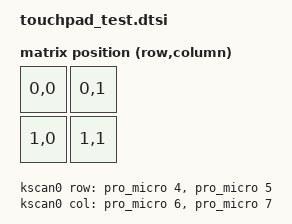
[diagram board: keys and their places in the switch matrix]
#include <dt-bindings/zmk/matrix_transform.h>

/ {
    chosen {
        zmk,kscan = &kscan0;
        zmk,matrix-transform = &default_transform;
    };

    default_transform: keymap_transform_0 {
        compatible = "zmk,matrix-transform";
        columns = <2>;
        rows = <2>;
        map = <
            RC(0,0) RC(0,1)
            RC(1,0) RC(1,1)
        >;
    };

    kscan0: kscan {
        compatible = "zmk,kscan-gpio-matrix";
        wakeup-source;
        diode-direction = "col2row";

        row-gpios =
            <&pro_micro 4 (GPIO_ACTIVE_HIGH | GPIO_PULL_DOWN)>,
            <&pro_micro 5 (GPIO_ACTIVE_HIGH | GPIO_PULL_DOWN)>;

        col-gpios =
            <&pro_micro 6 GPIO_ACTIVE_HIGH>,
            <&pro_micro 7 GPIO_ACTIVE_HIGH>;
    };

    trackpad_listener {
        compatible = "zmk,input-listener";
        device = <&trackpad>;
    };
};

&pinctrl {
    i2c0_default: i2c0_default {
        group1 {
            psels = <NRF_PSEL(TWIM_SDA, 0, 17)>,
                    <NRF_PSEL(TWIM_SCL, 0, 20)>;
            bias-pull-up;
        };
    };

    i2c0_sleep: i2c0_sleep {
        group1 {
            psels = <NRF_PSEL(TWIM_SDA, 0, 17)>,
                    <NRF_PSEL(TWIM_SCL, 0, 20)>;
            low-power-enable;
        };
    };
};

&i2c0 {
    status = "okay";
    compatible = "nordic,nrf-twim";
    pinctrl-0 = <&i2c0_default>;
    pinctrl-1 = <&i2c0_sleep>;
    pinctrl-names = "default", "sleep";

    trackpad: trackpad@2a {
        compatible = "cirque,pinnacle";
        reg = <0x2a>;
        status = "okay";
        dr-gpios = <&pro_micro 8 GPIO_ACTIVE_HIGH>;
        sensitivity = "4x";
        sleep;
        no-taps;
    };
};
